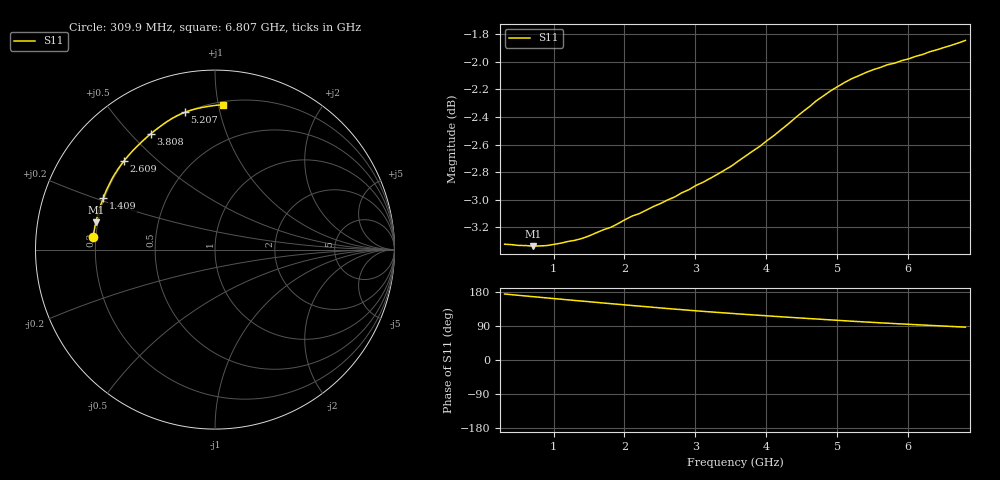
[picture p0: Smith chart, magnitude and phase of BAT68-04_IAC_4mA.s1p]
! Infineon Technologies  Discrete & RF Semiconductors
! BAT68-04
! IAC = 4 mA
! One-Port S-Parameters
# Hz  S  MA  R  50
!f  S11
!Hz  Mag  Ang
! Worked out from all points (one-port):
!   66 points, 309.9 MHz to 6.807 GHz, reference 50 ohm
!   lowest |S11| = -3.3 dB at 709.6 MHz (marker M1), VSWR 5.27, Z = 9.61 + j5.42 ohm
!   |S11| at or under -10 dB: nowhere
!   S11 on the Smith chart (normalised r, x): 309.9 MHz: 0.19, +0.05; 1.409 GHz: 0.20, +0.21; 2.609 GHz: 0.20, +0.39; 3.808 GHz: 0.20, +0.57; 5.207 GHz: 0.20, +0.78; 6.807 GHz: 0.22, +1.03
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3.0985e8  0.6821 174.2
5.0975e8  0.6814 170.6
7.0965e8  0.681 167.2
1.0095e9  0.682 162.0
1.2094e9  0.6837 158.7
1.4093e9  0.6855 155.3
1.50925e9  0.687 153.7
1.70915e9  0.6905 150.3
2.009e9  0.6963 145.4
2.4088e9  0.7039 139.0
2.6087e9  0.7078 135.9
2.8086e9  0.712 132.8
3.0085e9  0.7164 129.8
3.10845e9  0.7184 128.4
3.30835e9  0.7231 125.6
3.6082e9  0.7313 121.6
3.8081e9  0.7373 119.1
4.2079e9  0.7506 114.1
4.4078e9  0.758 111.7
4.8076e9  0.7722 107.0
5.0075e9  0.7782 104.7
5.2074e9  0.7833 102.4
5.4073e9  0.7874 100.2
5.50725e9  0.7892 99.2
5.6072e9  0.7907 98.1
6.007e9  0.7964 94.2
6.30685e9  0.8012 91.4
6.8066e9  0.8087 86.7
